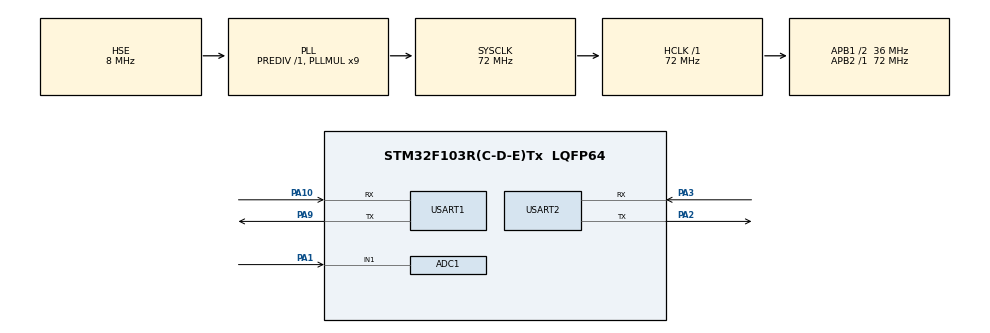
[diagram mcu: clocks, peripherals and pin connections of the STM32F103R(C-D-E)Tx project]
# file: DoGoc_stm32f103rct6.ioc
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ADC1.Channel-0\#ChannelRegularConversion=ADC_CHANNEL_1
ADC1.NbrOfConversionFlag=1
ADC1.Rank-0\#ChannelRegularConversion=1
ADC1.SamplingTime-0\#ChannelRegularConversion=ADC_SAMPLETIME_1CYCLE_5
ADC1.master=1
Dma.Request0=USART1_RX
Dma.Request1=USART2_RX
Dma.USART1_RX.0.Direction=DMA_PERIPH_TO_MEMORY
Dma.USART1_RX.0.Instance=DMA1_Channel5
Dma.USART1_RX.0.MemDataAlignment=DMA_MDATAALIGN_BYTE
Dma.USART1_RX.0.MemInc=DMA_MINC_ENABLE
Dma.USART1_RX.0.Mode=DMA_NORMAL
Dma.USART1_RX.0.PeriphDataAlignment=DMA_PDATAALIGN_BYTE
Dma.USART1_RX.0.PeriphInc=DMA_PINC_DISABLE
Dma.USART1_RX.0.Priority=DMA_PRIORITY_LOW
Dma.USART2_RX.1.Direction=DMA_PERIPH_TO_MEMORY
Dma.USART2_RX.1.Instance=DMA1_Channel6
Dma.USART2_RX.1.MemDataAlignment=DMA_MDATAALIGN_BYTE
Dma.USART2_RX.1.MemInc=DMA_MINC_ENABLE
Dma.USART2_RX.1.Mode=DMA_NORMAL
Dma.USART2_RX.1.PeriphDataAlignment=DMA_PDATAALIGN_BYTE
Dma.USART2_RX.1.PeriphInc=DMA_PINC_DISABLE
Dma.USART2_RX.1.Priority=DMA_PRIORITY_LOW
Mcu.Family=STM32F1
Mcu.Name=STM32F103R(C-D-E)Tx
Mcu.Package=LQFP64
NVIC.DMA1_Channel5_IRQn=true\:0\:0\:false\:false\:true\:false\:true\:true
NVIC.DMA1_Channel6_IRQn=true\:0\:0\:false\:false\:true\:false\:true\:true
NVIC.PriorityGroup=NVIC_PRIORITYGROUP_4
NVIC.TIM2_IRQn=true\:0\:0\:false\:false\:true\:true\:true\:true
NVIC.USART1_IRQn=true\:0\:0\:false\:false\:true\:true\:true\:true
NVIC.USART2_IRQn=true\:0\:0\:false\:false\:true\:true\:true\:true
PA1.Signal=ADCx_IN1
PA10.Mode=Asynchronous
PA10.Signal=USART1_RX
PA13.Mode=Serial_Wire
PA13.Signal=SYS_JTMS-SWDIO
PA14.Mode=Serial_Wire
PA14.Signal=SYS_JTCK-SWCLK
PA2.Mode=Asynchronous
PA2.Signal=USART2_TX
PA3.Mode=Asynchronous
PA3.Signal=USART2_RX
PA9.Mode=Asynchronous
PA9.Signal=USART1_TX
PD0-OSC_IN.Mode=HSE-External-Oscillator
PD0-OSC_IN.Signal=RCC_OSC_IN
PD1-OSC_OUT.Mode=HSE-External-Oscillator
PD1-OSC_OUT.Signal=RCC_OSC_OUT
ProjectManager.HeapSize=0x200
ProjectManager.StackSize=0x400
ProjectManager.TargetToolchain=STM32CubeIDE
RCC.ADCPresc=RCC_ADCPCLK2_DIV6
RCC.AHBFreq_Value=72000000
RCC.APB1CLKDivider=RCC_HCLK_DIV2
RCC.APB1Freq_Value=36000000
RCC.APB1TimFreq_Value=72000000
RCC.APB2Freq_Value=72000000
RCC.APB2TimFreq_Value=72000000
RCC.HCLKFreq_Value=72000000
RCC.PLLMUL=RCC_PLL_MUL9
RCC.PLLSourceVirtual=RCC_PLLSOURCE_HSE
RCC.SYSCLKFreq_VALUE=72000000
RCC.SYSCLKSource=RCC_SYSCLKSOURCE_PLLCLK
RCC.USBFreq_Value=72000000
SH.ADCx_IN1.0=ADC1_IN1,IN1
TIM2.Period=59999
TIM2.Prescaler=7199
USART1.VirtualMode=VM_ASYNC
USART2.VirtualMode=VM_ASYNC
VP_TIM2_VS_ClockSourceINT.Mode=Internal
board=custom

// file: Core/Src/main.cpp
/* USER CODE BEGIN Header */
/**
  ******************************************************************************
  * @file           : main.c
  * @brief          : Main program body
  ******************************************************************************
  * @attention
  *
  * Copyright (c) 2023 STMicroelectronics.
  * All rights reserved.
  *
  * This software is licensed under terms that can be found in the LICENSE file
  * in the root directory of this software component.
  * If no LICENSE file comes with this software, it is provided AS-IS.
  *
  ******************************************************************************
  */
/* USER CODE END Header */
#include "main.h"

/* USER CODE BEGIN Includes */
#include "stdio.h"
#include "string.h"
#include "IMU50.h"
#include "Kalman_cpp.h"
#include "flash_storage.h"
#include "math.h"
/* USER CODE END Includes */

/* USER CODE BEGIN PTD */
#define BUFFER_SIZE_2 100
#define BUFFER_SIZE_1 50
uint8_t buffUART1[BUFFER_SIZE_1];
uint8_t buffUART2[BUFFER_SIZE_2];
uint8_t PcData[BUFFER_SIZE_2];
uint8_t ImuData[BUFFER_SIZE_1];

volatile uint16_t RFCAdcValue = 0;

extern Data_Triaxis_Def Gyr;
extern Data_Triaxis_Def Accel;
extern uint8_t READ_GYR[5];
extern uint8_t READ_ACCEL[5];
float T = 0;
float Roll_IMU = 0;
float Roll_result = 0;
Kalman RFCKal(0);
Kalman GyrKal(0);
Kalman AxKal(0);
Kalman AyKal(0);
float AccelBias[3] = {0}, GzBias = 0;
char tx2pcData[100];
/* USER CODE END PTD */

 ADC_HandleTypeDef hadc1;

TIM_HandleTypeDef htim2;

UART_HandleTypeDef huart1;
UART_HandleTypeDef huart2;
DMA_HandleTypeDef hdma_usart1_rx;
DMA_HandleTypeDef hdma_usart2_rx;

void SystemClock_Config(void);
static void MX_GPIO_Init(void);
static void MX_DMA_Init(void);
static void MX_USART1_UART_Init(void);
static void MX_USART2_UART_Init(void);
static void MX_ADC1_Init(void);
static void MX_TIM2_Init(void);
/* USER CODE BEGIN PFP */
void UARTRXInit(void);
/* USER CODE END PFP */

/* USER CODE BEGIN 0 */
void HAL_UARTEx_RxEventCallback(UART_HandleTypeDef *huart, uint16_t Size)
{
	if(huart->Instance == USART1)
	{
		memset(ImuData,0,BUFFER_SIZE_1);
		memcpy(ImuData,buffUART1,Size);
		if (buffUART1[0] == 0x77)
		{
			if (buffUART1[3] == 0x50) {
					Gyr.z = IMU50_Respond_format(&buffUART1[10], TYPE_GYR);
			}
			if (buffUART1[3] == 0x54) {
					Accel.x = IMU50_Respond_format(&buffUART1[4], TYPE_ACCEL);
					Accel.y = IMU50_Respond_format(&buffUART1[7], TYPE_ACCEL);
			}
		}
		HAL_UARTEx_ReceiveToIdle_DMA(&huart1, buffUART1, BUFFER_SIZE_1);
	}
	if(huart->Instance == USART2)
	{
		memset(PcData,0,BUFFER_SIZE_2);
		memcpy(PcData,buffUART2,Size);
		HAL_UARTEx_ReceiveToIdle_DMA(&huart2, buffUART2, BUFFER_SIZE_2);
	}
}

void UARTRXInit(void) {
	HAL_UARTEx_ReceiveToIdle_DMA(&huart1, buffUART1, BUFFER_SIZE_1);
	__HAL_DMA_DISABLE_IT(&hdma_usart1_rx, DMA_IT_HT);
	HAL_UARTEx_ReceiveToIdle_DMA(&huart2, buffUART2, BUFFER_SIZE_2);
	__HAL_DMA_DISABLE_IT(&hdma_usart2_rx, DMA_IT_HT);
}

float RFC_Factor = 0; //Change RFC_Factor
uint16_t delta_RFC;
uint16_t MinRFC = 0;
uint16_t MaxRFC = 4096;
uint16_t oldADC = 0;
uint16_t RangeADC = 4095;
void HAL_ADC_ConvCpltCallback(ADC_HandleTypeDef* hadc)
{
    // Conversion Complete & DMA Transfer Complete As Well
	RFCAdcValue = RFCKal.update(RFCAdcValue);
	if(RFCAdcValue < oldADC - 0.75*RangeADC)
	{
		delta_RFC = (RFCAdcValue + RangeADC - oldADC)*RFC_Factor;
	}
	delta_RFC = (RFCAdcValue - oldADC)*RFC_Factor;
	oldADC = RFCAdcValue;
}
/* USER CODE END 0 */

int main(void)
{
  /* USER CODE BEGIN 1 */
//  Flash_Assign_Param(AccelBias, &GzBias, &MinRFC, &MaxRFC);
  /* USER CODE END 1 */

  /* MCU Configuration--------------------------------------------------------*/

  /* Reset of all peripherals, Initializes the Flash interface and the Systick. */
  HAL_Init();

  /* Configure the system clock */
  SystemClock_Config();

  /* Initialize all configured peripherals */
  MX_GPIO_Init();
  MX_DMA_Init();
  MX_USART1_UART_Init();
  MX_USART2_UART_Init();
  MX_ADC1_Init();
  MX_TIM2_Init();
  /* USER CODE BEGIN 2 */
  // Init values
//  Flash_Soft_GetOffset();
  RangeADC = MaxRFC - MinRFC;
  oldADC = MinRFC;
  RFC_Factor = 360.0f/RangeADC;
//  HAL_ADC_Start_DMA(&hadc1, (uint32_t*)&RFCAdcValue, 1);
  UARTRXInit();
  IMU50_Init(&huart2, ANSWER, AUT_ALL, ImuData, BUFFER_SIZE_2);
  /* USER CODE END 2 */

  /* Infinite loop */
  /* USER CODE BEGIN WHILE */
  HAL_TIM_Base_Start(&htim2);
  uint32_t t_old = __HAL_TIM_GetCounter(&htim2);
  uint16_t init_loops = 50;
  uint16_t num_loop = 0;
  float Roll_g = 0;
  while (1)
  {
	IMU50_SendCommand(READ_GYR, 5);
	IMU50_SendCommand(READ_ACCEL, 5);
	Gyr.z = GyrKal.update(Gyr.z);
	Accel.y = AyKal.update(Accel.y);
	Accel.x = AxKal.update(Accel.x);
	if(num_loop < init_loops)
	{
		Roll_g += atan2(Accel.y, Accel.x);
		t_old = __HAL_TIM_GetCounter(&htim2);
		num_loop++;
		continue;
	}
	else if(num_loop == init_loops)
	{
		Roll_g /= init_loops;
		num_loop++;
	}
	else
	{
		Roll_g = atan2(Accel.y, Accel.x);
	}
	uint32_t t_cur = __HAL_TIM_GetCounter(&htim2);
	if(t_cur > t_old)
	{
		T = (t_cur - t_old)*0.0001f;
	}
	else
	{
		T = (60000-t_old+t_cur)*0.0001f;
	}
	t_old = t_cur;
	Roll_IMU += Gyr.z*T;
//	Roll_result = 0.7*Roll_IMU + 0.3*Roll_g*3.14/180 + delta_RFC;
//	sprintf(tx2pcData,">%.4f|%.4f|%.4f|%.4f|%.4f\r",Gyr.z,Accel.x,Accel.y,Roll_IMU,T);
//	HAL_UART_Transmit(&huart1, (uint8_t*)tx2pcData, strlen(tx2pcData), 100);
    /* USER CODE END WHILE */

  }
}

void SystemClock_Config(void)
{
  RCC_OscInitTypeDef RCC_OscInitStruct = {0};
  RCC_ClkInitTypeDef RCC_ClkInitStruct = {0};
  RCC_PeriphCLKInitTypeDef PeriphClkInit = {0};

  /** Initializes the RCC Oscillators according to the specified parameters
  * in the RCC_OscInitTypeDef structure.
  */
  RCC_OscInitStruct.OscillatorType = RCC_OSCILLATORTYPE_HSE;
  RCC_OscInitStruct.HSEState = RCC_HSE_ON;
  RCC_OscInitStruct.HSEPredivValue = RCC_HSE_PREDIV_DIV1;
  RCC_OscInitStruct.HSIState = RCC_HSI_ON;
  RCC_OscInitStruct.PLL.PLLState = RCC_PLL_ON;
  RCC_OscInitStruct.PLL.PLLSource = RCC_PLLSOURCE_HSE;
  RCC_OscInitStruct.PLL.PLLMUL = RCC_PLL_MUL9;
  if (HAL_RCC_OscConfig(&RCC_OscInitStruct) != HAL_OK)
  {
    Error_Handler();
  }

  /** Initializes the CPU, AHB and APB buses clocks
  */
  RCC_ClkInitStruct.ClockType = RCC_CLOCKTYPE_HCLK|RCC_CLOCKTYPE_SYSCLK
                              |RCC_CLOCKTYPE_PCLK1|RCC_CLOCKTYPE_PCLK2;
  RCC_ClkInitStruct.SYSCLKSource = RCC_SYSCLKSOURCE_PLLCLK;
  RCC_ClkInitStruct.AHBCLKDivider = RCC_SYSCLK_DIV1;
  RCC_ClkInitStruct.APB1CLKDivider = RCC_HCLK_DIV2;
  RCC_ClkInitStruct.APB2CLKDivider = RCC_HCLK_DIV1;

  if (HAL_RCC_ClockConfig(&RCC_ClkInitStruct, FLASH_LATENCY_2) != HAL_OK)
  {
    Error_Handler();
  }
  PeriphClkInit.PeriphClockSelection = RCC_PERIPHCLK_ADC;
  PeriphClkInit.AdcClockSelection = RCC_ADCPCLK2_DIV6;
  if (HAL_RCCEx_PeriphCLKConfig(&PeriphClkInit) != HAL_OK)
  {
    Error_Handler();
  }
}

static void MX_ADC1_Init(void)
{

  ADC_ChannelConfTypeDef sConfig = {0};

  /** Common config
  */
  hadc1.Instance = ADC1;
  hadc1.Init.ScanConvMode = ADC_SCAN_DISABLE;
  hadc1.Init.ContinuousConvMode = DISABLE;
  hadc1.Init.DiscontinuousConvMode = DISABLE;
  hadc1.Init.ExternalTrigConv = ADC_SOFTWARE_START;
  hadc1.Init.DataAlign = ADC_DATAALIGN_RIGHT;
  hadc1.Init.NbrOfConversion = 1;
  if (HAL_ADC_Init(&hadc1) != HAL_OK)
  {
    Error_Handler();
  }

  /** Configure Regular Channel
  */
  sConfig.Channel = ADC_CHANNEL_1;
  sConfig.Rank = ADC_REGULAR_RANK_1;
  sConfig.SamplingTime = ADC_SAMPLETIME_1CYCLE_5;
  if (HAL_ADC_ConfigChannel(&hadc1, &sConfig) != HAL_OK)
  {
    Error_Handler();
  }

}

static void MX_TIM2_Init(void)
{

  TIM_ClockConfigTypeDef sClockSourceConfig = {0};
  TIM_MasterConfigTypeDef sMasterConfig = {0};

  htim2.Instance = TIM2;
  htim2.Init.Prescaler = 7199;
  htim2.Init.CounterMode = TIM_COUNTERMODE_UP;
  htim2.Init.Period = 59999;
  htim2.Init.ClockDivision = TIM_CLOCKDIVISION_DIV1;
  htim2.Init.AutoReloadPreload = TIM_AUTORELOAD_PRELOAD_DISABLE;
  if (HAL_TIM_Base_Init(&htim2) != HAL_OK)
  {
    Error_Handler();
  }
  sClockSourceConfig.ClockSource = TIM_CLOCKSOURCE_INTERNAL;
  if (HAL_TIM_ConfigClockSource(&htim2, &sClockSourceConfig) != HAL_OK)
  {
    Error_Handler();
  }
  sMasterConfig.MasterOutputTrigger = TIM_TRGO_RESET;
  sMasterConfig.MasterSlaveMode = TIM_MASTERSLAVEMODE_DISABLE;
  if (HAL_TIMEx_MasterConfigSynchronization(&htim2, &sMasterConfig) != HAL_OK)
  {
    Error_Handler();
  }

}

static void MX_USART1_UART_Init(void)
{

  huart1.Instance = USART1;
  huart1.Init.BaudRate = 115200;
  huart1.Init.WordLength = UART_WORDLENGTH_8B;
  huart1.Init.StopBits = UART_STOPBITS_1;
  huart1.Init.Parity = UART_PARITY_NONE;
  huart1.Init.Mode = UART_MODE_TX_RX;
  huart1.Init.HwFlowCtl = UART_HWCONTROL_NONE;
  huart1.Init.OverSampling = UART_OVERSAMPLING_16;
  if (HAL_UART_Init(&huart1) != HAL_OK)
  {
    Error_Handler();
  }

}

static void MX_USART2_UART_Init(void)
{

  huart2.Instance = USART2;
  huart2.Init.BaudRate = 115200;
  huart2.Init.WordLength = UART_WORDLENGTH_8B;
  huart2.Init.StopBits = UART_STOPBITS_1;
  huart2.Init.Parity = UART_PARITY_NONE;
  huart2.Init.Mode = UART_MODE_TX_RX;
  huart2.Init.HwFlowCtl = UART_HWCONTROL_NONE;
  huart2.Init.OverSampling = UART_OVERSAMPLING_16;
  if (HAL_UART_Init(&huart2) != HAL_OK)
  {
    Error_Handler();
  }

}

static void MX_DMA_Init(void)
{

  /* DMA controller clock enable */
  __HAL_RCC_DMA1_CLK_ENABLE();

  /* DMA interrupt init */
  /* DMA1_Channel5_IRQn interrupt configuration */
  HAL_NVIC_SetPriority(DMA1_Channel5_IRQn, 0, 0);
  HAL_NVIC_EnableIRQ(DMA1_Channel5_IRQn);
  /* DMA1_Channel6_IRQn interrupt configuration */
  HAL_NVIC_SetPriority(DMA1_Channel6_IRQn, 0, 0);
  HAL_NVIC_EnableIRQ(DMA1_Channel6_IRQn);

}

static void MX_GPIO_Init(void)
{

  /* GPIO Ports Clock Enable */
  __HAL_RCC_GPIOD_CLK_ENABLE();
  __HAL_RCC_GPIOA_CLK_ENABLE();

}

void Error_Handler(void)
{
  __disable_irq();
  while (1)
  {
  }
}
